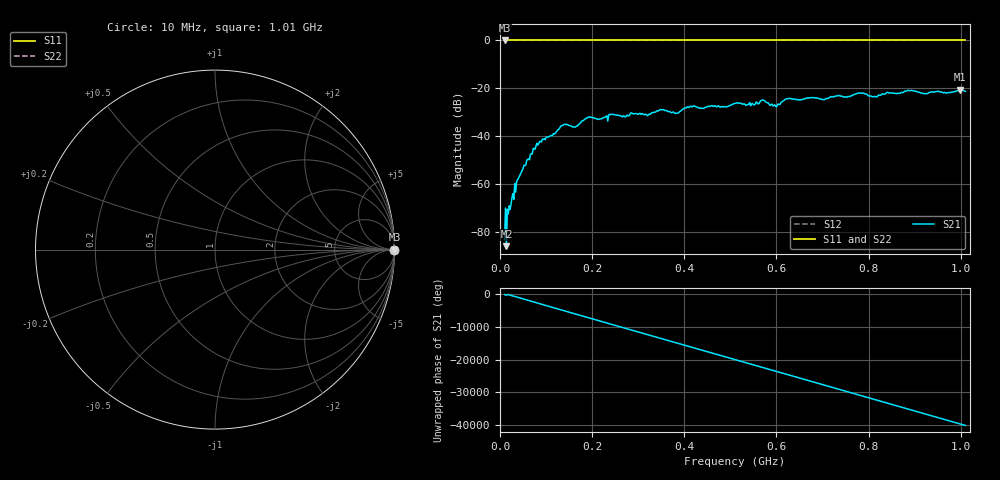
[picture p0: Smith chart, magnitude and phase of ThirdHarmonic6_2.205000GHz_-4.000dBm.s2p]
! 8/17/2025 2:16:26 AM
! C:\ANRITSUVNA\TEMP\TEMP.S2P
! CHANNEL.1
! TR.MEASUREMENT
! RAW.DATA
! RF.CORRECTION.OFF
! AVERAGING.OFF
! IF.BANDWIDTH: 5KHZ
! SWEEPTYPE:  FREQ.SWEEP(Linear)
! Reference Plane Port Info
! PORT:  PORT1  PORT2
! DISTANCE:  0  m  0  m
! TIME:  0  s  0  s
! PHASE.OFFSET:  0  deg.  0  deg.
! LOSS:  0  dB  0  dB
! REF.LOSS:  0  dB  0  dB
! REF.FREQ:  0  Hz  0  Hz
! Power Info
! POWER:  -20  dBm  -20  dBm
! EFF.POWER:  -20  dBm  -20  dBm
! SOURCE.ATTEN:  0  dB  0  dB
! TEST.ATTEN:  0  dB  0  dB
# GHZ S RI R 50.0
! FREQ.GHZ  S11RE  S11IM  S21RE  S21IM  S12RE  S12IM  S22RE  S22IM
!; PortSelection: Port_12
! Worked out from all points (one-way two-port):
!   501 points, 10 MHz to 1.01 GHz, reference 50 ohm
!   highest |S21| = -20.62 dB at 998 MHz (marker M1); lowest = -86.1 dB at 14 MHz (marker M2)
!   lowest |S11| = 0.0 dB at 10 MHz (marker M3)
!   |S11| at or under -10 dB: nowhere
!   |S22| runs from 0.0 to 0.0 dB; largest |S21 - S12| = 1.1
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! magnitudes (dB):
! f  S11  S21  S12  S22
! 10 MHz  0.0  -83.4  0.0  0.0
! 14 MHz  0.0  -86.1  0.0  0.0
! 40 MHz  0.0  -57.7  0.0  0.0
! 76 MHz  0.0  -45.5  0.0  0.0
! 136 MHz  0.0  -35.6  0.0  0.0
! 162 MHz  0.0  -36.3  0.0  0.0
! 178 MHz  0.0  -33.6  0.0  0.0
! 192 MHz  0.0  -32.1  0.0  0.0
! 322 MHz  0.0  -31.1  0.0  0.0
! 344 MHz  0.0  -29.5  0.0  0.0
! 384 MHz  0.0  -30.5  0.0  0.0
! 410 MHz  0.0  -28.1  0.0  0.0
! 510 MHz  0.0  -26.4  0.0  0.0
! 548 MHz  0.0  -26.4  0.0  0.0
! 570 MHz  0.0  -25.0  0.0  0.0
! 596 MHz  0.0  -26.9  0.0  0.0
! 624 MHz  0.0  -24.3  0.0  0.0
! 678 MHz  0.0  -23.9  0.0  0.0
! 814 MHz  0.0  -23.4  0.0  0.0
! 844 MHz  0.0  -22.0  0.0  0.0
! 998 MHz  0.0  -20.6  0.0  0.0
! 1.01 GHz  0.0  -21.3  0.0  0.0
